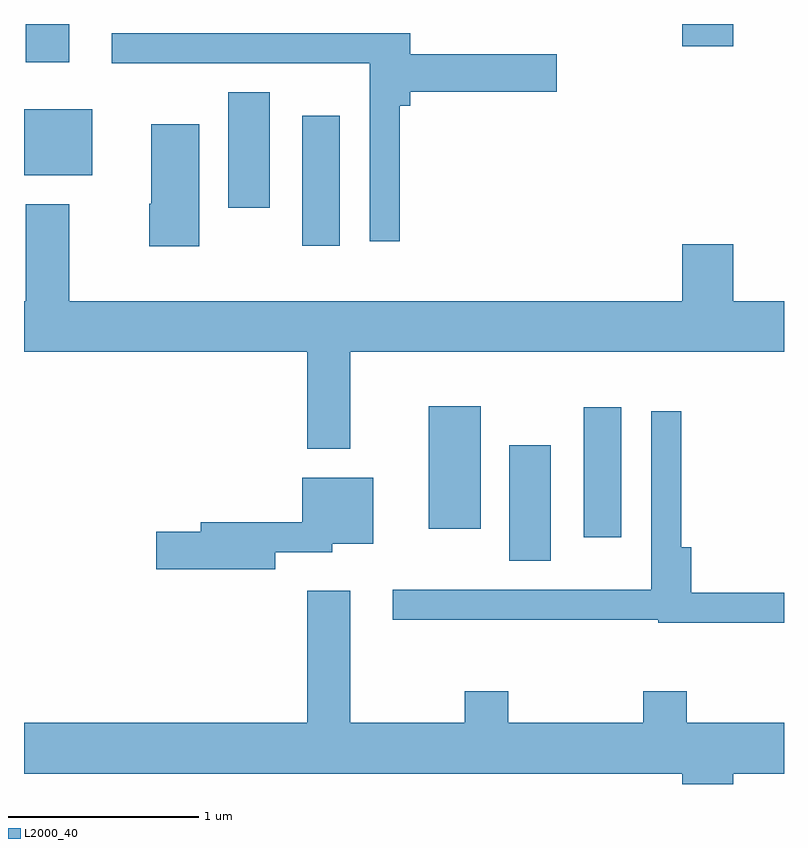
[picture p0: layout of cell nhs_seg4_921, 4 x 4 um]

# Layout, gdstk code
import gdstk
lib = gdstk.Library(unit=1e-6, precision=1e-09)
def R(c, l, rs):  # rectangles x0, y0, x1, y1
    for r in rs: c.add(gdstk.rectangle(r[:2], r[2:], *l))
def P(c, l, *ps):  # polygons
    for p in ps: c.add(gdstk.Polygon(p, *l))
L2000_40 = (2000, 40)

nhs_seg4_921 = lib.new_cell('nhs_seg4_921')
R(nhs_seg4_921, L2000_40, [(214.166,1329.156,214.384,1329.764), (214.556,1329.281,214.754,1329.964), (213.741,1329.326,214.014,1329.969), (213.076,1330.816,213.274,1331.499), (212.686,1331.016,212.904,1331.624), (211.611,1331.186,211.969,1331.534), (211.621,1331.781,211.849,1331.982), (215.076,1331.866,215.344,1331.982)])
P(nhs_seg4_921, L2000_40, [(213.589,1331.551),(213.644,1331.551),(213.644,1331.626),(214.414,1331.626),(214.414,1331.824),(213.644,1331.824),(213.644,1331.934),(212.073,1331.934),(212.073,1331.776),(213.431,1331.776),(213.431,1330.838),(213.589,1330.838)],
  [(212.534,1331.454),(212.281,1331.454),(212.281,1331.035),(212.271,1331.035),(212.271,1330.811),(212.534,1330.811)],
  [(213.329,1330.256),(215.611,1330.256),(215.611,1330.524),(215.344,1330.524),(215.344,1330.824),(215.076,1330.824),(215.076,1330.524),(211.849,1330.524),(211.849,1331.034),(211.621,1331.034),(211.621,1330.524),(211.611,1330.524),(211.611,1330.256),(213.101,1330.256),(213.101,1329.746),(213.329,1329.746)],
  [(215.611,1328.989),(215.124,1328.989),(215.124,1329.229),(215.069,1329.229),(215.069,1329.943),(214.911,1329.943),(214.911,1329.004),(213.553,1329.004),(213.553,1328.846),(214.95,1328.846),(214.95,1328.831),(215.611,1328.831)],
  [(212.934,1329.201),(213.234,1329.201),(213.234,1329.246),(213.449,1329.246),(213.449,1329.594),(213.076,1329.594),(213.076,1329.359),(212.541,1329.359),(212.541,1329.309),(212.306,1329.309),(212.306,1329.111),(212.934,1329.111)],
  [(215.344,1328.036),(215.611,1328.036),(215.611,1328.304),(215.099,1328.304),(215.099,1328.469),(214.871,1328.469),(214.871,1328.304),(214.159,1328.304),(214.159,1328.469),(213.931,1328.469),(213.931,1328.304),(213.329,1328.304),(213.329,1328.999),(213.101,1328.999),(213.101,1328.304),(211.611,1328.304),(211.611,1328.036),(215.076,1328.036),(215.076,1327.982),(215.344,1327.982)])

lib.write_gds('nhs_seg4_921.gds')
